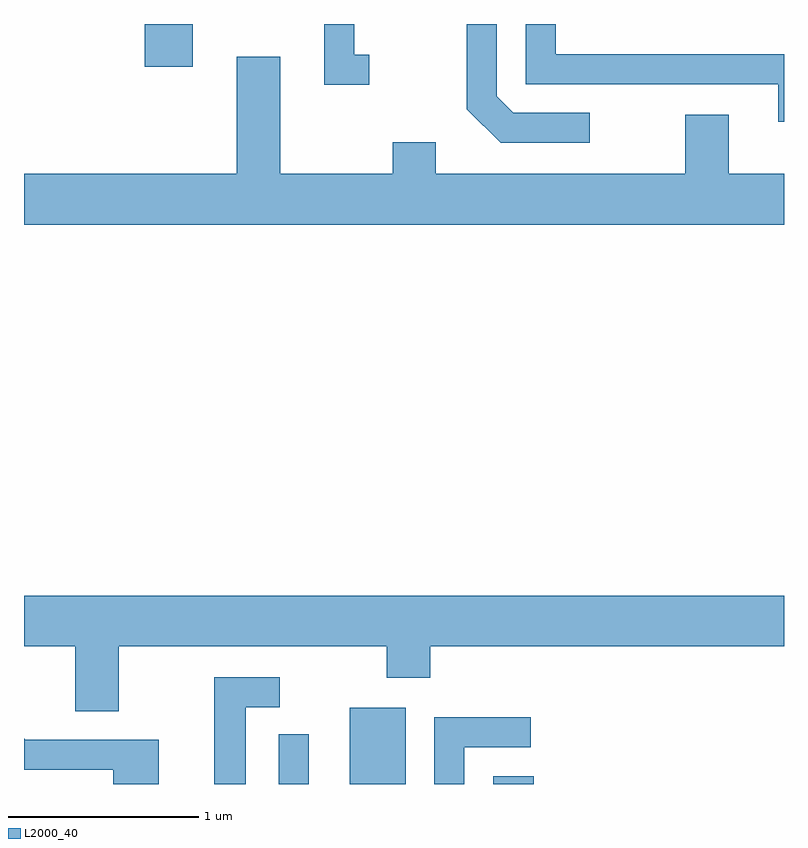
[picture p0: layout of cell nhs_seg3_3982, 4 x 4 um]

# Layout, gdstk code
import gdstk
lib = gdstk.Library(unit=1e-6, precision=1e-09)
def R(c, l, rs):  # rectangles x0, y0, x1, y1
    for r in rs: c.add(gdstk.rectangle(r[:2], r[2:], *l))
def P(c, l, *ps):  # polygons
    for p in ps: c.add(gdstk.Polygon(p, *l))
L2000_40 = (2000, 40)

nhs_seg3_3982 = lib.new_cell('nhs_seg3_3982')
R(nhs_seg3_3982, L2000_40, [(302.951,1191.892,303.109,1192.153), (303.326,1191.892,303.619,1192.294), (304.081,1191.892,304.294,1191.934), (302.246,1195.666,302.499,1195.892)])
P(nhs_seg3_3982, L2000_40, [(303.428,1195.729),(303.349,1195.729),(303.349,1195.892),(303.191,1195.892),(303.191,1195.571),(303.428,1195.571)],
  [(304.588,1195.424),(304.187,1195.424),(304.099,1195.512),(304.099,1195.892),(303.941,1195.892),(303.941,1195.444),(304.119,1195.266),(304.588,1195.266)],
  [(305.611,1195.734),(304.409,1195.734),(304.409,1195.892),(304.251,1195.892),(304.251,1195.576),(305.581,1195.576),(305.581,1195.378),(305.611,1195.378)],
  [(305.611,1195.104),(305.319,1195.104),(305.319,1195.414),(305.091,1195.414),(305.091,1195.104),(303.779,1195.104),(303.779,1195.269),(303.551,1195.269),(303.551,1195.104),(302.959,1195.104),(302.959,1195.719),(302.731,1195.719),(302.731,1195.104),(301.611,1195.104),(301.611,1194.836),(305.611,1194.836)],
  [(302.109,1192.616),(303.521,1192.616),(303.521,1192.451),(303.749,1192.451),(303.749,1192.616),(305.611,1192.616),(305.611,1192.884),(301.611,1192.884),(301.611,1192.616),(301.881,1192.616),(301.881,1192.276),(302.109,1192.276)],
  [(302.779,1192.296),(302.958,1192.296),(302.958,1192.454),(302.611,1192.454),(302.611,1191.892),(302.779,1191.892)],
  [(303.929,1192.086),(304.278,1192.086),(304.278,1192.244),(303.771,1192.244),(303.771,1191.892),(303.929,1191.892)],
  [(302.319,1192.124),(301.615,1192.124),(301.615,1192.129),(301.611,1192.129),(301.611,1191.966),(302.081,1191.966),(302.081,1191.892),(302.319,1191.892)])

lib.write_gds('nhs_seg3_3982.gds')
